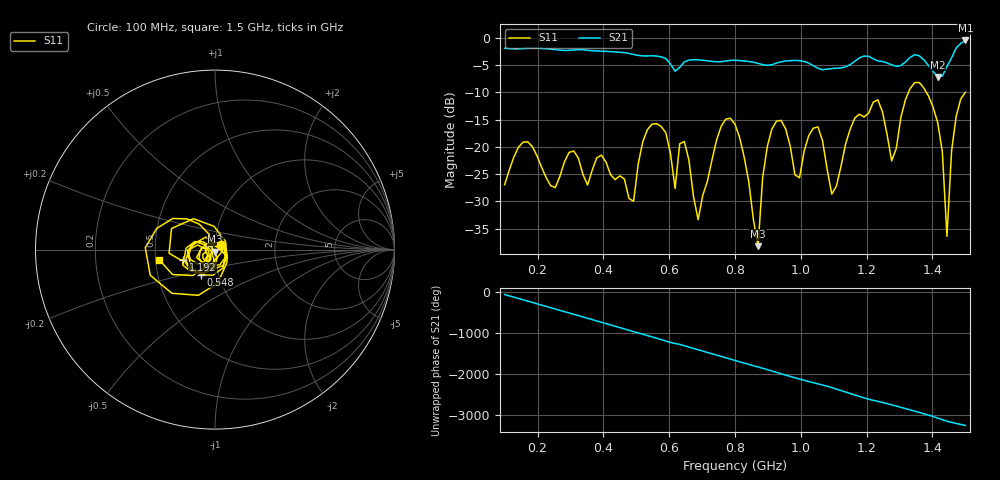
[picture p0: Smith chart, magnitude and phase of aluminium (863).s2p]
! NanoVNA-App
! Date: 2025-09-25 15:02:00
! Start: 100MHz Stop: 1,5GHz Points: 101
! S-Parameter data: F S11 S21 S12 S22
# Hz S RI R 50
!  Frequency  S11_Real  S11_Imag  S21_Real  S21_Imag  S12_Real  S12_Imag  S22_Real  S22_Imag
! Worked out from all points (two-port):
!   101 points, 100 MHz to 1.5 GHz, reference 50 ohm
!   highest |S21| = -0.49 dB at 1.5 GHz (marker M1); lowest = -7.2 dB at 1.416 GHz (marker M2)
!   |S21| within 3 dB of the highest: start of sweep to 575.2 MHz; 1.46 GHz to end of sweep (the widest 2 of 4)
!   lowest |S11| = -38.2 dB at 870 MHz (marker M3), VSWR 1.02, Z = 50 - j1.22 ohm
!   |S11| at or under -10 dB: start of sweep to 1.327 GHz; 1.381 GHz to end of sweep
!   S12 and S22 are empty: the file has one direction only
!   S11 on the Smith chart (normalised r, x): 100 MHz: 1.07, +0.06; 548 MHz: 0.82, -0.24; 1.192 GHz: 0.69, -0.08; 1.5 GHz: 0.52, -0.07
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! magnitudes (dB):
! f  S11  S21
! 100 MHz  -27.0  -1.9
! 156 MHz  -19.2  -2.0
! 338 MHz  -25.1  -2.2
! 492 MHz  -30.0  -3.1
! 548 MHz  -15.9  -3.3
! 576 MHz  -16.3  -3.5
! 618 MHz  -27.7  -6.2
! 646 MHz  -19.0  -4.4
! 688 MHz  -33.4  -4.1
! 800 MHz  -15.9  -4.1
! 870 MHz  -38.2  -4.7
! 912 MHz  -16.8  -5.0
! 996 MHz  -25.7  -4.2
! 1.038 GHz  -16.6  -5.1
! 1.094 GHz  -28.7  -5.7
! 1.192 GHz  -14.5  -3.4
! 1.276 GHz  -22.6  -5.0
! 1.346 GHz  -8.2  -3.1
! 1.416 GHz  -15.6  -7.2
! 1.444 GHz  -36.4  -5.3
! 1.458 GHz  -20.8  -3.7
! 1.5 GHz  -10.0  -0.5
